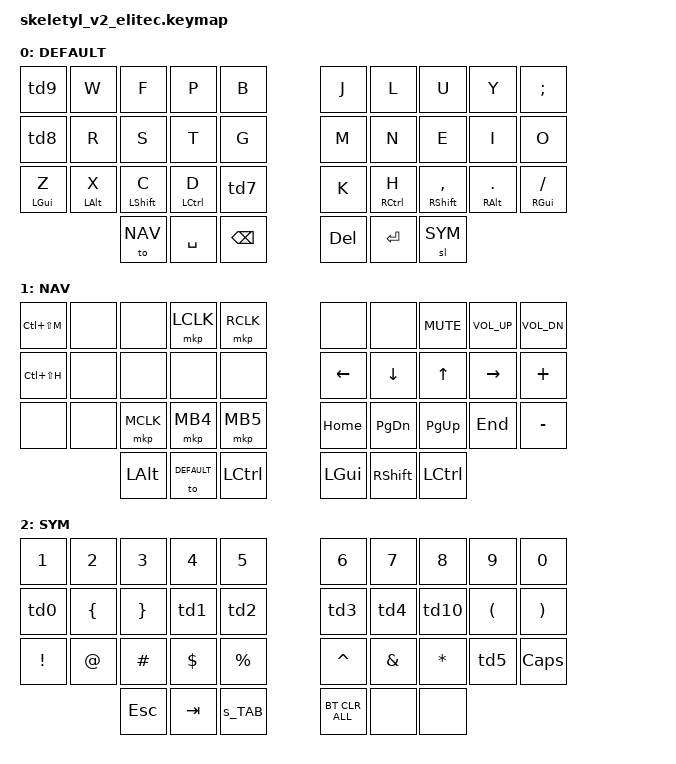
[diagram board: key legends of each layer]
/*
 * Copyright (c) 2020 ZMK Contributors
 *
 * SPDX-License-Identifier: MIT
 */


#include <behaviors.dtsi>
#include <dt-bindings/zmk/keys.h>
#include <dt-bindings/zmk/bt.h>
#include <dt-bindings/zmk/mouse.h>


#define DEFAULT 0
#define NAV     1
#define SYM     2


#define COMBO(NAME, BINDINGS, KEYPOS) \
  combo_##NAME { \
    timeout-ms = <50>; \
    bindings = <BINDINGS>; \
    key-positions = <KEYPOS>; \
    layers = <0>; \
  };

#define SHIFTED(sym, macro_label) s_##sym: s_##sym {\
        label = macro_label;\
        compatible = "zmk,behavior-macro";\
        wait-ms = <50>;\
        #binding-cells = <0>;\
        bindings\
            = <&macro_press &kp LSHFT>\
            , <&macro_press &kp sym>\
            , <&macro_release &kp sym>\
            , <&macro_pause_for_release>\
            , <&macro_release &kp LSHFT>\
            ;\
    }



/ {
    behaviors {
        td0: tap_dance_0 {
            compatible = "zmk,behavior-tap-dance";
            #binding-cells = <0>;
            tapping-term-ms = <200>;
            bindings = <&kp TILDE>, <&kp GRAVE>;
        };
        td1: tap_dance_1 {
            compatible = "zmk,behavior-tap-dance";
            #binding-cells = <0>;
            tapping-term-ms = <200>;
            bindings = <&kp APOS>, <&kp DQT>;
        };
        td2: tap_dance_2 {
            compatible = "zmk,behavior-tap-dance";
            #binding-cells = <0>;
            tapping-term-ms = <200>;
            bindings = <&kp PIPE>, <&kp BACKSLASH>;
        };
        td3: tap_dance_3 {
            compatible = "zmk,behavior-tap-dance";
            #binding-cells = <0>;
            tapping-term-ms = <200>;
            bindings = <&kp LEFT_BRACKET>, <&kp LEFT_BRACE>;
        };
        td4: tap_dance_4 {
            compatible = "zmk,behavior-tap-dance";
            #binding-cells = <0>;
            tapping-term-ms = <200>;
            bindings = <&kp RIGHT_BRACKET>, <&kp RIGHT_BRACE>;
        };
        td5: tap_dance_5 {
            compatible = "zmk,behavior-tap-dance";
            #binding-cells = <0>;
            tapping-term-ms = <200>;
            bindings = <&kp EQUAL>, <&kp PLUS>;
        };
        td10: tap_dance_10 {
            compatible = "zmk,behavior-tap-dance";
            #binding-cells = <0>;
            tapping-term-ms = <200>;
            bindings = <&kp UNDERSCORE>, <&kp MINUS>;
        };
        bhm: balanced_homerow_mods {
            compatible = "zmk,behavior-hold-tap";
            label = "HOMEROW_MODS";
            #binding-cells = <2>;
            tapping-term-ms = <200>;    // <---[[moderate duration]]
            quick-tap-ms = <0>;
            flavor = "balanced";
            bindings = <&kp>, <&kp>;
        };
        // P or ctrl+V (paste)
        td7: tap_dance_7 {
            compatible = "zmk,behavior-tap-dance";
            #binding-cells = <0>;
            tapping-term-ms = <200>;
            bindings = <&kp V>, <&kp LC(V)>;
        };
        // A or ctrl+tab (next open tab)
        td8: tap_dance_8 {
            compatible = "zmk,behavior-tap-dance";
            #binding-cells = <0>;
            tapping-term-ms = <200>;
            bindings = <&kp A>, <&kp LC(TAB)>;
        };
        // Q or ctrl-shift-tab (previous open tab)
        td9: tap_dance_9 {
            compatible = "zmk,behavior-tap-dance";
            #binding-cells = <0>;
            tapping-term-ms = <200>;
            bindings = <&kp Q>, <&kp LC(LS(TAB))>;
        };
    };


    combos {
        compatible = "zmk,combos";
                      
        COMBO(copy, &kp LC(C), 13 14)
        COMBO(escape, &kp ESC, 15 16)
        COMBO(backslash, &kp SLASH, 12 13)
    };

    macros {
        SHIFTED(TAB, "shifted_tab");
    };
	
	keymap {
		compatible = "zmk,keymap";

		DEFAULT {
// ------------------------------------------------------------------------------------------------------------
// |  Q  |  W  |  E   |  R   |  T   |                   |  Y   |  U    |  I    |  O   |   P   |
// |  A  |  S  |  D   |  F   |  G   |                   |  H   |  J    |  K    |  L   |   ;   |
// |  Z  |  X  |  C   |  V   |  B   |                   |  N   |  M    |  ,    |  .   |   /   |
//                    | CTRL | SPCE | LOWER|            | RAISE| ENTR  | RGUI|
            bindings = <
&td9    	    &kp W  		&kp F           &kp P        	&kp B              &kp J       		&kp L      	    &kp U               &kp Y               &kp SEMICOLON
&td8    	    &kp R  		&kp S           &kp T        	&kp G              &kp M       		&kp N      	    &kp E               &kp I               &kp O        
&bhm LGUI Z     &bhm LALT X &bhm LSHFT C    &bhm LCTRL D    &td7               &kp K       		&bhm RCTRL H    &bhm RSHFT COMMA    &bhm RALT PERIOD    &bhm RGUI SLASH    
              			    &to NAV         &kp SPACE    	&kp BACKSPACE      &kp DELETE  		&kp ENTER	&sl SYM
            >;
		};

	NAV {
            bindings = <
&kp LC(LS(M))   &none               &none          	&mkp LCLK		&mkp RCLK          	&none   		&none   	&kp C_MUTE	&kp C_VOL_UP	&kp C_VOL_DN
&kp LC(LS(H))   &none               &none           &none           &none              	&kp LEFT       	&kp DOWN   	&kp UP     	&kp RIGHT      	&kp PLUS        
&none   	    &none   	        &mkp MCLK	    &mkp MB4   		&mkp MB5           	&kp HOME       	&kp PG_DN  	&kp PG_UP  	&kp END	 	  	&kp MINUS    
              			            &kp LALT   	    &to DEFAULT  	&kp LCTRL          	&kp LGUI  		&kp RSHFT	&kp LCTRL
            >;
		};

	SYM {
            bindings = <
&kp N1  	&kp N2		&kp N3 		&kp N4			&kp N5          	&kp N6			&kp N7	 	&kp N8		&kp N9			&kp N0
&td0		&kp LBRC	&kp RBRC	&td1       		&td2              	&td3          	&td4       	&td10     	&kp LPAR      	&kp RPAR        
&kp EXCL	&kp AT		&kp HASH	&kp DLLR		&kp PRCNT	      	&kp CARET      	&kp AMPS  	&kp ASTRK  	&td5     	  	&kp CAPSLOCK    
              			&kp ESC    	&kp TAB		  	&s_TAB              &bt BT_CLR_ALL	&none    	&none
            >;
		};
	};
};


// &msc SCRL_DOWN	    &msc SCRL_UP
// &mmv MOVE_LEFT		&mmv MOVE_UP  	&mmv MOVE_DOWN  &mmv MOVE_RIGHT 
// see https://gist.github.com/krissen/dd27082e7ab0575619c7a31f4d2ec7ae
// pending PR -p 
